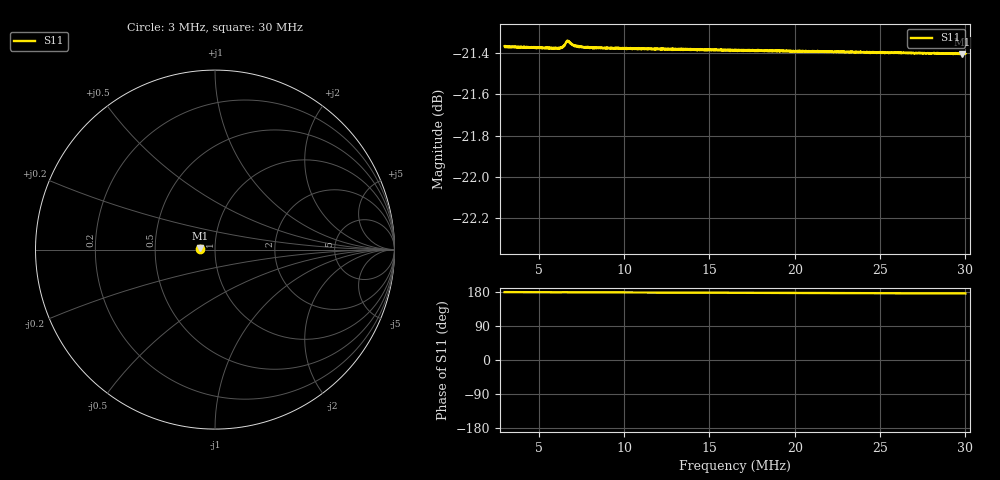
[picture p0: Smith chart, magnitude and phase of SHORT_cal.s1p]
! Created with skrf (http://scikit-rf.org).
# Hz S RI R 50.0
!freq ReS11 ImS11
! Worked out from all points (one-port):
!   2000 points, 3 MHz to 30 MHz, reference 50 ohm
!   lowest |S11| = -21.4 dB at 29.8 MHz (marker M1), VSWR 1.19, Z = 42.2 + j0.55 ohm
!   |S11| at or under -10 dB: start of sweep to end of sweep
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3000000  -0.0854 0.00125
3243122  -0.0854 0.00131
5795898  -0.0854 0.0018
6174087  -0.0854 0.00184
6322661  -0.0854 0.00181
6376688  -0.0854 0.00178
6471236  -0.0855 0.00175
6619810  -0.0857 0.00174
6660330  -0.0856 0.00177
6714357  -0.0857 0.00191
6795398  -0.0856 0.00203
6984492  -0.0855 0.00208
7052026  -0.0855 0.00209
7200600  -0.0854 0.00209
7362681  -0.0854 0.00214
8132566  -0.0854 0.00224
9753377  -0.0853 0.00259
1.313007e7  -0.0852 0.00323
1.650675e7  -0.0852 0.00392
1.769535e7  -0.0852 0.00414
1.797899e7  -0.0851 0.00418
1.851926e7  -0.0851 0.00431
1.896498e7  -0.0851 0.00436
1.988344e7  -0.0851 0.00454
2.326013e7  -0.085 0.0052
2.663682e7  -0.0849 0.00586
2.97974e7  -0.0848 0.00648
3e7  -0.0848 0.00651
